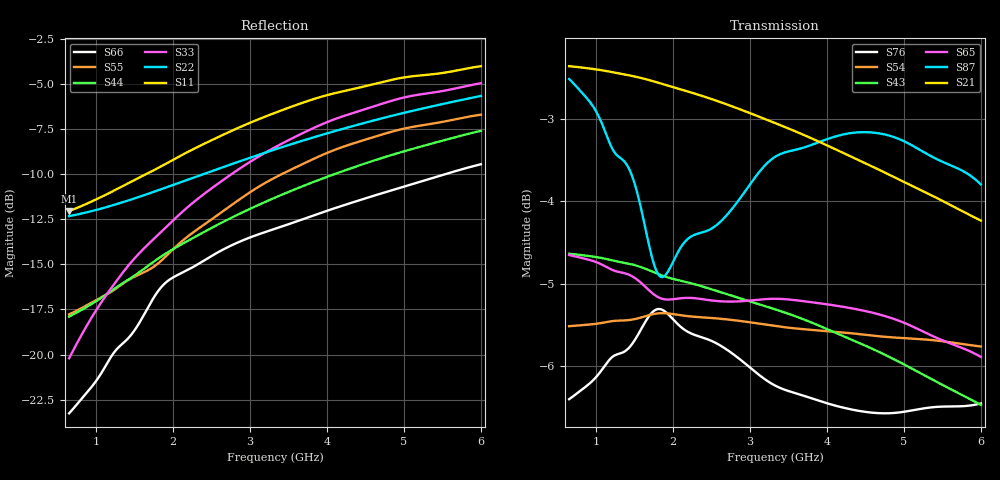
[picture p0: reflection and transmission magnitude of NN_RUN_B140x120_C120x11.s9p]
! IGNION VIRTUAL ANTENNA LIBRARY
! NN_RUN_B140x120_C120x11
! Virtual Antenna™ RUN mXTEND™: NN02-224 12.0 mm x 3.0 mm x 2.4 mm
! https://ignion.io/product/run-mxtend/
! Board: 140 mm x 120 mm
! Clearance Area: 120 mm x 11 mm
! Feeding line: L-shape; 11mm x 2mm and 5mm x 2mm
! Applications: Smart meter, Routers/Repeaters
! Frequency range 0.65GHz to 6GHz, step 10MHz
! Number of ports 9
! This product and its use is protected by at least one or more of the following patents and patent
! applications US 8,203,492 B2; US 8,237,615 B2; PCT/EP2013/064692; WO 2014/012842 A1; US 2019/190122 A1;
! US 62/072,671; and other domestic and international patents pending. Additional information about
! patents related to this product is available at https://ignion.io/files/Patent-list-NN.pdf, all
! rights reserved. Copyright, Ignion 2021.
! Need more help? Your platform is much different than these examples in the manual? Use our
! Fast Track service (https://ignion.io/fast-track/), for free, and get a personalized antenna design in
! just 24 hours.
! Touchstone port 1 = "Series Port"
! Touchstone port 2 = "Shunt Port"
! Touchstone port 3 = "Series Port"
! Touchstone port 4 = "Shunt Port"
! Touchstone port 5 = "Series Port"
! Touchstone port 6 = "Shunt Port"
! Touchstone port 7 = "Series Port"
! Touchstone port 8 = "Shunt Port"
! Touchstone port 9 = "Series Port"
! IE3D S-Parameters Output Version 2.0
# GHZ S MA R 50
! Nport = 9
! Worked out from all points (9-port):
!   536 points, 650 MHz to 6 GHz, reference 50 ohm
!   strongest paths, dB at 650 MHz, 1.99 GHz, 3.33 GHz, 4.67 GHz, 6 GHz:
!     S21: -2.4, -2.6, -3.1, -3.6, -4.2
!     S87: -2.5, -4.8, -3.5, -3.2, -3.8
!     S65: -4.7, -5.2, -5.2, -5.4, -5.9
!     S43: -4.6, -4.9, -5.3, -5.8, -6.5
!     S54: -5.5, -5.4, -5.5, -5.6, -5.8
!     S76: -6.4, -5.4, -6.2, -6.6, -6.5
!   lowest |S11| = -12.0 dB at 650 MHz (marker M1), VSWR 1.67, Z = 31.1 + j7.77 ohm
!   |S11| at or under -10 dB: start of sweep to 1.645 GHz
